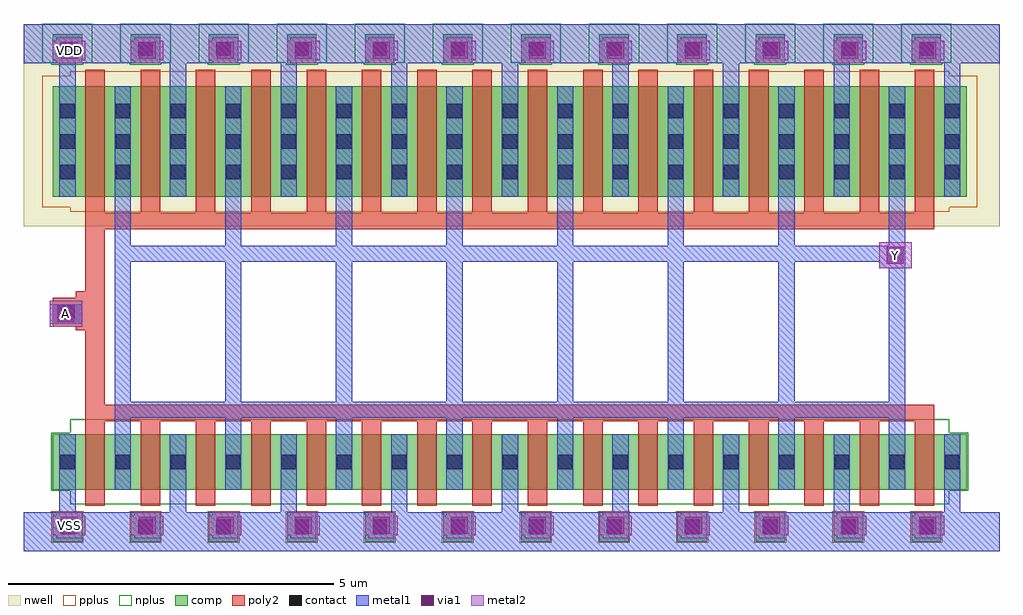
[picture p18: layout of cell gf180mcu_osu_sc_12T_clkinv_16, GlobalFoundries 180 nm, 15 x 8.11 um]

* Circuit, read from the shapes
.subckt gf180mcu_osu_sc_12T_clkinv_16 A VDD VSS Y
XM1 Y A VSS VSS nfet_03v3 w=0.85u l=0.3u m=16
XM2 Y A VDD VDD pfet_03v3 w=1.7u l=0.3u m=16
.ends

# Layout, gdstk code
import gdstk
lib = gdstk.Library(unit=1e-6, precision=1e-09)
def R(c, l, rs):  # rectangles x0, y0, x1, y1
    for r in rs: c.add(gdstk.rectangle(r[:2], r[2:], *l))
def A(c, l, x, y, w, h, nx, ny, dx, dy):  # array of equal rectangles
    R(c, l, [(x+i*dx, y+j*dy, x+i*dx+w, y+j*dy+h) for i in range(nx) for j in range(ny)])
nwell = (21, 0)
comp = (22, 0)
poly2 = (30, 0)
pplus = (31, 0)
nplus = (32, 0)
contact = (33, 0)
metal1 = (34, 0)
via1 = (35, 0)
metal2 = (36, 0)

gf180mcu_osu_sc_12t_clki = lib.new_cell('gf180mcu_osu_sc_12T_clkinv_16')
R(gf180mcu_osu_sc_12t_clki, nwell, [(0,5,15,8.1)])
A(gf180mcu_osu_sc_12t_clki, comp, 0.45, 0.15, 0.45, 0.45, 12, 2, 1.2, 7.35)
R(gf180mcu_osu_sc_12t_clki, comp, [(0.45,0.95,14.5,1.8), (0.45,5.45,14.5,7.15)])
A(gf180mcu_osu_sc_12t_clki, poly2, 0.95, 0.7, 0.3, 1.3, 16, 1, 0.85, 0)
A(gf180mcu_osu_sc_12t_clki, poly2, 0.95, 5.2, 0.3, 2.2, 16, 1, 0.85, 0)
R(gf180mcu_osu_sc_12t_clki, poly2, [(0.95,2,14,2.25), (0.95,2.25,1.25,3.4), (0.8,3.4,1.25,3.45), (0.45,3.45,1.25,3.9), (0.8,3.9,1.25,4), (0.95,4,1.25,4.95), (0.95,4.95,14,5.2)])
A(gf180mcu_osu_sc_12t_clki, pplus, 0.43, 0.13, 0.49, 0.49, 12, 1, 1.2, 0)
R(gf180mcu_osu_sc_12t_clki, pplus, [(0.72,5.22,14.23,5.29), (0.29,5.29,14.66,7.31), (0.72,7.31,14.23,7.38)])
A(gf180mcu_osu_sc_12t_clki, nplus, 0.43, 7.48, 0.49, 0.03, 12, 1, 1.2, 0)
A(gf180mcu_osu_sc_12t_clki, nplus, 0.29, 7.51, 0.77, 0.6, 12, 1, 1.2, 0)
R(gf180mcu_osu_sc_12t_clki, nplus, [(0.72,0.72,14.23,0.93), (0.43,0.93,14.52,1.82), (0.72,1.82,14.23,2.03)])
A(gf180mcu_osu_sc_12t_clki, contact, 0.565, 0.265, 0.22, 0.22, 12, 2, 1.2, 7.35)
A(gf180mcu_osu_sc_12t_clki, contact, 0.565, 1.265, 0.22, 0.22, 17, 2, 0.85, 4.455)
A(gf180mcu_osu_sc_12t_clki, contact, 0.565, 6.19, 0.22, 0.22, 17, 2, 0.85, 0.47)
R(gf180mcu_osu_sc_12t_clki, contact, [(0.565,3.565,0.785,3.785)])
A(gf180mcu_osu_sc_12t_clki, metal1, 0.55, 0.6, 0.25, 1.2, 9, 1, 1.7, 0)
A(gf180mcu_osu_sc_12t_clki, metal1, 1.4, 0.95, 0.25, 1.1, 8, 1, 1.7, 0)
A(gf180mcu_osu_sc_12t_clki, metal1, 1.4, 2.3, 0.25, 2.15, 7, 1, 1.7, 0)
A(gf180mcu_osu_sc_12t_clki, metal1, 1.4, 4.7, 0.25, 2.45, 8, 1, 1.7, 0)
A(gf180mcu_osu_sc_12t_clki, metal1, 0.55, 5.45, 0.25, 2.05, 9, 1, 1.7, 0)
R(gf180mcu_osu_sc_12t_clki, metal1, [(0,0,15,0.6), (1.4,2.05,13.55,2.3), (13.3,2.3,13.55,4.35), (0.4,3.5,0.9,3.8), (13.15,4.35,13.55,4.45), (1.4,4.45,13.55,4.7), (0,7.5,15,8.1)])
A(gf180mcu_osu_sc_12t_clki, via1, 0.57, 0.27, 0.26, 0.26, 12, 2, 1.2, 7.3)
R(gf180mcu_osu_sc_12t_clki, via1, [(0.52,3.52,0.78,3.78), (13.27,4.42,13.53,4.68)])
A(gf180mcu_osu_sc_12t_clki, metal2, 0.5, 0.2, 0.4, 0.05, 12, 2, 1.2, 0.35)
A(gf180mcu_osu_sc_12t_clki, metal2, 0.45, 0.25, 0.5, 0.3, 12, 2, 1.2, 7.3)
A(gf180mcu_osu_sc_12t_clki, metal2, 0.5, 7.5, 0.4, 0.05, 12, 2, 1.2, 0.35)
R(gf180mcu_osu_sc_12t_clki, metal2, [(0.4,3.45,0.9,3.85), (13.15,4.35,13.65,4.75)])
gf180mcu_osu_sc_12t_clki.add(gdstk.Label('VDD', (0.7,7.7), layer=36, texttype=0))
gf180mcu_osu_sc_12t_clki.add(gdstk.Label('VSS', (0.7,0.4), layer=36, texttype=0))
gf180mcu_osu_sc_12t_clki.add(gdstk.Label('A', (0.65,3.65), layer=36, texttype=10))
gf180mcu_osu_sc_12t_clki.add(gdstk.Label('Y', (13.4,4.55), layer=36, texttype=10))

lib.write_gds('gf180mcu_osu_sc_12T_clkinv_16.gds')
